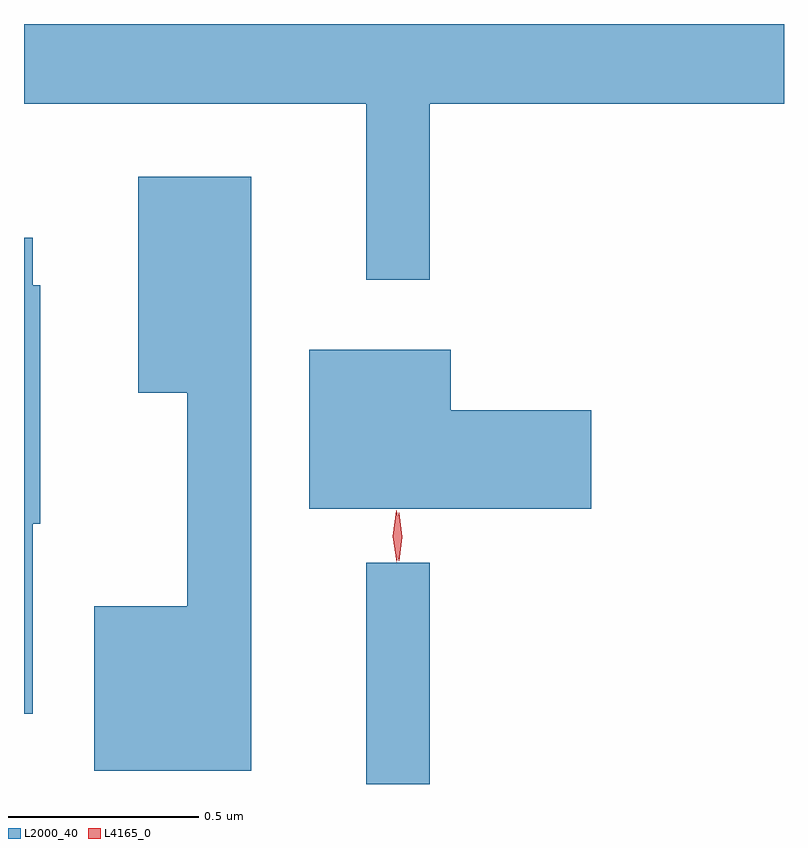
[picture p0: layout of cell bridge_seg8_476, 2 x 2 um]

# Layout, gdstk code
import gdstk
lib = gdstk.Library(unit=1e-6, precision=1e-09)
def R(c, l, rs):  # rectangles x0, y0, x1, y1
    for r in rs: c.add(gdstk.rectangle(r[:2], r[2:], *l))
def P(c, l, *ps):  # polygons
    for p in ps: c.add(gdstk.Polygon(p, *l))
L2000_40 = (2000, 40)
L4165_0 = (4165, 0)

bridge_seg8_476 = lib.new_cell('bridge_seg8_476')
R(bridge_seg8_476, L2000_40, [(598.221,1896.786,598.389,1897.368)])
P(bridge_seg8_476, L2000_40, [(598.389,1898.576),(599.321,1898.576),(599.321,1898.786),(597.321,1898.786),(597.321,1898.576),(598.221,1898.576),(598.221,1898.113),(598.389,1898.113)],
  [(597.919,1898.384),(597.621,1898.384),(597.621,1897.816),(597.751,1897.816),(597.751,1897.254),(597.506,1897.254),(597.506,1896.821),(597.919,1896.821)],
  [(597.344,1897.471),(597.364,1897.471),(597.364,1898.099),(597.344,1898.099),(597.344,1898.224),(597.321,1898.224),(597.321,1896.971),(597.344,1896.971)],
  [(598.814,1897.769),(598.444,1897.769),(598.444,1897.929),(598.071,1897.929),(598.071,1897.511),(598.814,1897.511)])
P(bridge_seg8_476, L4165_0, [(598.302,1897.37),(598.302,1897.37),(598.292,1897.438),(598.301,1897.505),(598.301,1897.506),(598.302,1897.505),(598.312,1897.438),(598.302,1897.37)],
  [(598.307,1897.373),(598.307,1897.374),(598.298,1897.436),(598.307,1897.5),(598.307,1897.5),(598.308,1897.5),(598.317,1897.436),(598.308,1897.374)])

lib.write_gds('bridge_seg8_476.gds')
